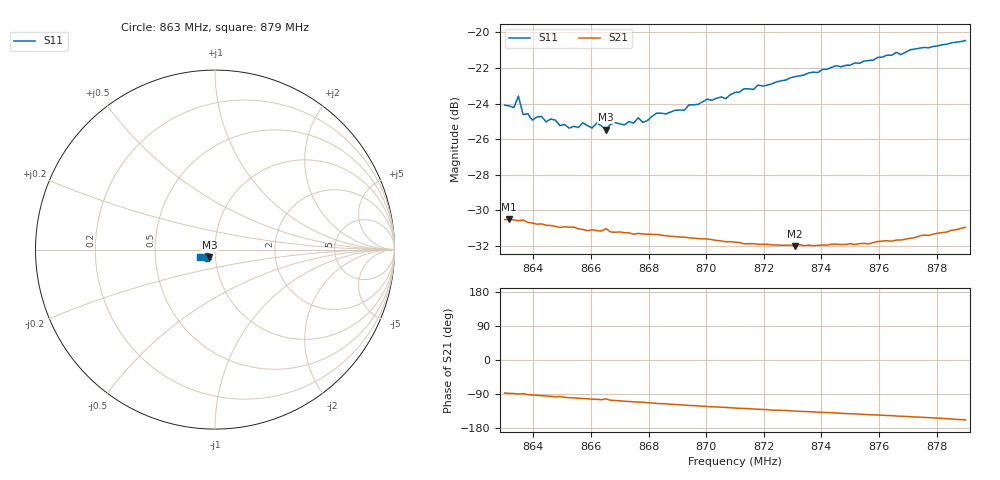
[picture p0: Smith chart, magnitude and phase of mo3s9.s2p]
# HZ S RI R 50
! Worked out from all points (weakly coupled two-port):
!   101 points, 863 MHz to 879 MHz, reference 50 ohm
!   highest |S21| = -30.53 dB at 863.16 MHz (marker M1); lowest = -32.0 dB at 873.08 MHz (marker M2)
!   lowest |S11| = -25.5 dB at 866.52 MHz (marker M3), VSWR 1.11, Z = 46.8 - j4.07 ohm
!   |S11| at or under -10 dB: start of sweep to end of sweep
!   S12 and S22 are empty: the file has one direction only
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8.63e8  -0.0466 -0.0414  0.00162 -0.0297  0 0  0 0
8.6316e8  -0.0467 -0.041  0.000961 -0.0297  0 0  0 0
8.6332e8  -0.0459 -0.0409  0.000794 -0.0297  0 0  0 0
8.6348e8  -0.0515 -0.0416  2.6e-05 -0.0295  0 0  0 0
8.6364e8  -0.0426 -0.0404  0.00065 -0.0297  0 0  0 0
8.6396e8  -0.0419 -0.0382  -0.00114 -0.0291  0 0  0 0
8.6428e8  -0.0419 -0.0401  -0.00207 -0.0288  0 0  0 0
8.6524e8  -0.0369 -0.0391  -0.00464 -0.0279  0 0  0 0
8.6572e8  -0.0354 -0.043  -0.00556 -0.0273  0 0  0 0
8.6604e8  -0.034 -0.0417  -0.0064 -0.0271  0 0  0 0
8.662e8  -0.0353 -0.043  -0.00654 -0.0269  0 0  0 0
8.6652e8  -0.0309 -0.0434  -0.00613 -0.0274  0 0  0 0
8.6684e8  -0.0336 -0.0444  -0.008 -0.0262  0 0  0 0
8.6748e8  -0.0316 -0.0457  -0.00942 -0.0253  0 0  0 0
8.6764e8  -0.0326 -0.0474  -0.00969 -0.0254  0 0  0 0
8.678e8  -0.0327 -0.0452  -0.00987 -0.0252  0 0  0 0
8.6844e8  -0.0329 -0.0493  -0.0114 -0.0243  0 0  0 0
8.71e8  -0.0389 -0.0555  -0.0154 -0.0206  0 0  0 0
8.7308e8  -0.0473 -0.0583  -0.0176 -0.0178  0 0  0 0
8.7372e8  -0.0503 -0.0587  -0.0183 -0.0172  0 0  0 0
8.7644e8  -0.0673 -0.054  -0.0216 -0.0141  0 0  0 0
8.79e8  -0.0848 -0.0428  -0.0262 -0.0106  0 0  0 0
